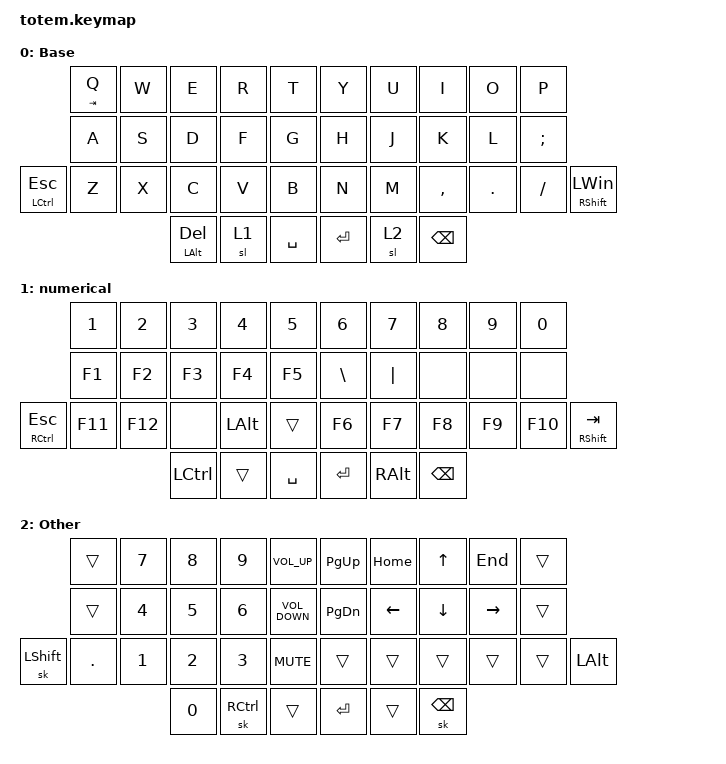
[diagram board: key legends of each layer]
#include <behaviors.dtsi>
#include <dt-bindings/zmk/keys.h>
#include <dt-bindings/zmk/bt.h>
#include <dt-bindings/zmk/outputs.h>

/ {
    keymap {
        compatible = "zmk,keymap";

        Base {
            bindings = <
                  &mt TAB Q  &kp W  &kp E             &kp R  &kp T        &kp Y    &kp U  &kp I      &kp O    &kp P
                  &kp A      &kp S  &kp D             &kp F  &kp G        &kp H    &kp J  &kp K      &kp L    &kp SEMI
&mt LCTRL ESCAPE  &kp Z      &kp X  &kp C             &kp V  &kp B        &kp N    &kp M  &kp COMMA  &kp DOT  &kp FSLH  &mt RSHFT LEFT_WIN
                                    &mt LEFT_ALT DEL  &sl 1  &kp SPACE    &kp RET  &sl 2  &kp BSPC
            >;
        };

        numerical {
            bindings = <
                  &kp NUMBER_1  &kp N2   &kp N3     &kp N4        &kp N5       &kp N6         &kp N7         &kp N8    &kp N9  &kp N0
                  &kp F1        &kp F2   &kp F3     &kp F4        &kp F5       &kp BACKSLASH  &kp PIPE       &none     &none   &none
&mt RCTRL ESCAPE  &kp F11       &kp F12  &none      &kp LEFT_ALT  &trans       &kp F6         &kp F7         &kp F8    &kp F9  &kp F10  &mt RSHFT TAB
                                         &kp LCTRL  &trans        &kp SPACE    &kp RET        &kp RIGHT_ALT  &kp BSPC
            >;
        };

        Other {
            bindings = <
                &trans      &kp N7        &kp N8        &kp N9        &kp C_VOLUME_UP      &kp PAGE_UP    &kp HOME        &kp UP_ARROW    &kp END          &trans
                &trans      &kp NUMBER_4  &kp N5        &kp NUMBER_6  &kp C_VOLUME_DOWN    &kp PAGE_DOWN  &kp LEFT_ARROW  &kp DOWN_ARROW  &kp RIGHT_ARROW  &trans
&sk LEFT_SHIFT  &kp PERIOD  &kp NUMBER_1  &kp NUMBER_2  &kp NUMBER_3  &kp K_MUTE           &trans         &trans          &trans          &trans           &trans  &kp LEFT_ALT
                                          &kp N0        &sk RCTRL     &trans               &kp ENTER      &trans          &sk BACKSPACE
            >;
        };
    };
};

